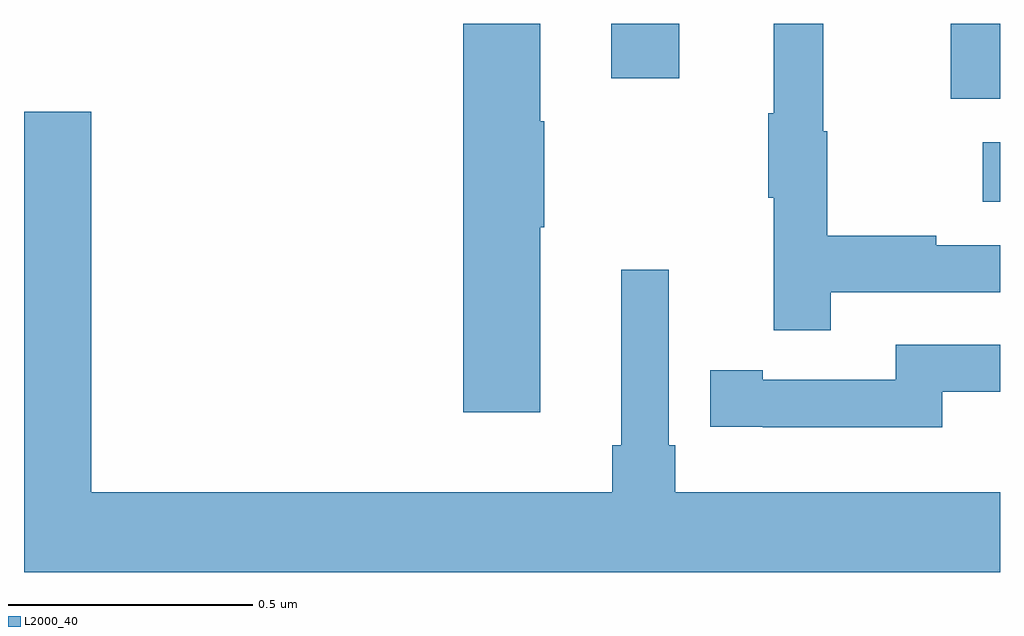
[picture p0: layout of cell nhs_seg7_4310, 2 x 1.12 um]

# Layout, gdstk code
import gdstk
lib = gdstk.Library(unit=1e-6, precision=1e-09)
def R(c, l, rs):  # rectangles x0, y0, x1, y1
    for r in rs: c.add(gdstk.rectangle(r[:2], r[2:], *l))
def P(c, l, *ps):  # polygons
    for p in ps: c.add(gdstk.Polygon(p, *l))
L2000_40 = (2000, 40)

nhs_seg7_4310 = lib.new_cell('nhs_seg7_4310')
R(nhs_seg7_4310, L2000_40, [(171.965,1074.635,172,1074.757), (171.899,1074.846,172,1075), (171.203,1074.888,171.343,1075)])
P(nhs_seg7_4310, L2000_40, [(171.653,1074.45),(172,1074.45),(172,1074.546),(171.869,1074.546),(171.869,1074.566),(171.646,1074.566),(171.646,1074.78),(171.638,1074.78),(171.638,1075),(171.536,1075),(171.536,1074.817),(171.525,1074.817),(171.525,1074.643),(171.536,1074.643),(171.536,1074.372),(171.653,1074.372)],
  [(171.058,1074.583),(171.066,1074.583),(171.066,1074.8),(171.058,1074.8),(171.058,1075),(170.9,1075),(170.9,1074.204),(171.058,1074.204)],
  [(172,1074.04),(171.335,1074.04),(171.335,1074.136),(171.321,1074.136),(171.321,1074.496),(171.224,1074.496),(171.224,1074.136),(171.205,1074.136),(171.205,1074.04),(170.138,1074.04),(170.138,1074.82),(170,1074.82),(170,1073.876),(172,1073.876)],
  [(171.882,1074.246),(172,1074.246),(172,1074.342),(171.786,1074.342),(171.786,1074.27),(171.514,1074.27),(171.514,1074.29),(171.406,1074.29),(171.406,1074.174),(171.514,1074.174),(171.514,1074.173),(171.882,1074.173)])

lib.write_gds('nhs_seg7_4310.gds')
